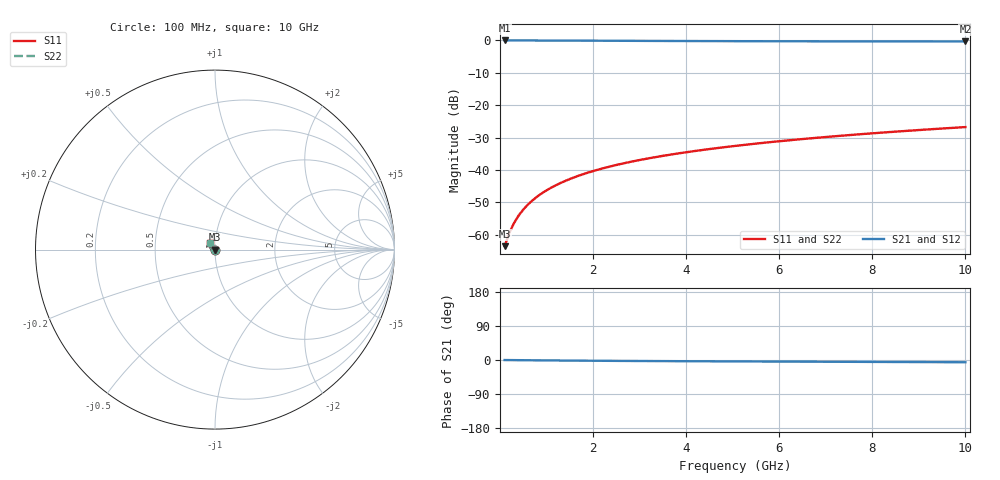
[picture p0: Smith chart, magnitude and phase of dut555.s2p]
! Touchstone file exported from HFSS 2024.1.0
!  File:  C:/UserFiles/LocalFiles/RDL_TSV_Batchsim/temp_TSV1_555_1779706678.aedt
!  Generated:  07:10:02 PM May 25, 2026
!  Design:  TSV1
!  Project:  temp_TSV1_555_1779706678
!  Setup:  Setup1
!  Solution:  Sweep
! Variables:
!  dtsv = 5.55um
!  hbump = 3um
!  htsv = 83.27um
!  lrdl = 252.1521522um
!  p = 40
!  p1 = 59.33um
!  t = 500um
!  trdl = 3um
!  wrdl = 24.89489489um
# GHz S MA R 50.000000
! Terminal data exported
! Port[1] = TSV22_T1
! Port[2] = TSV22_T2
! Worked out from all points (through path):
!   100 points, 100 MHz to 10 GHz, reference 50 ohm
!   highest |S21| = 0.00 dB at 100 MHz (marker M1); lowest = -0.3 dB at 10 GHz (marker M2)
!   lowest |S11| = -63.5 dB at 100 MHz (marker M3), VSWR 1.00, Z = 50 - j0.0504 ohm
!   |S11| at or under -10 dB: start of sweep to end of sweep
!   |S22| runs from -63.5 to -26.7 dB; largest |S21 - S12| = 2.2e-15
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0.1  0.0006696 -48.8  0.9995 -0.1  0.9995 -0.1  0.0006696 -48.8
! Gamma 0 0 0 0
! Port Impedance 50 0 50 0
0.2  0.001067 -70.1  0.9994 -0.2  0.9994 -0.2  0.001067 -70.1
0.3  0.001515 -81.1  0.9993 -0.3  0.9993 -0.3  0.001515 -81.1
0.4  0.00198 -88.4  0.9991 -0.4  0.9991 -0.4  0.00198 -88.4
0.5  0.002454 -94.0  0.9988 -0.5  0.9988 -0.5  0.002454 -94.0
0.6  0.002932 -98.7  0.9986 -0.7  0.9986 -0.7  0.002932 -98.7
0.7  0.003413 -102.9  0.9982 -0.8  0.9982 -0.8  0.003413 -102.9
0.9  0.004379 -110.2  0.9975 -1.0  0.9975 -1.0  0.004379 -110.2
1  0.004862 -113.6  0.997 -1.1  0.997 -1.1  0.004862 -113.6
1.2  0.005827 -119.9  0.996 -1.3  0.996 -1.3  0.005827 -119.9
1.5  0.007267 -128.5  0.9944 -1.5  0.9944 -1.5  0.007267 -128.5
1.8  0.008695 -136.5  0.9926 -1.8  0.9926 -1.8  0.008695 -136.5
2.1  0.01011 -144.0  0.9907 -2.0  0.9907 -2.0  0.01011 -144.0
2.5  0.01198 -153.1  0.9881 -2.3  0.9881 -2.3  0.01198 -153.1
2.9  0.01382 -161.4  0.9855 -2.6  0.9855 -2.6  0.01382 -161.4
3.4  0.01611 -170.6  0.9825 -2.9  0.9825 -2.9  0.01611 -170.6
4.2  0.01973 176.7  0.9783 -3.3  0.9783 -3.3  0.01973 176.7
5.1  0.02379 165.2  0.9744 -3.7  0.9744 -3.7  0.02379 165.2
5.9  0.02739 156.7  0.9716 -4.1  0.9716 -4.1  0.02739 156.7
6.7  0.03099 149.7  0.9694 -4.5  0.9694 -4.5  0.03099 149.7
8.4  0.03871 138.0  0.9657 -5.2  0.9657 -5.2  0.03871 138.0
10  0.04606 129.9  0.9632 -5.9  0.9632 -5.9  0.04606 129.9
